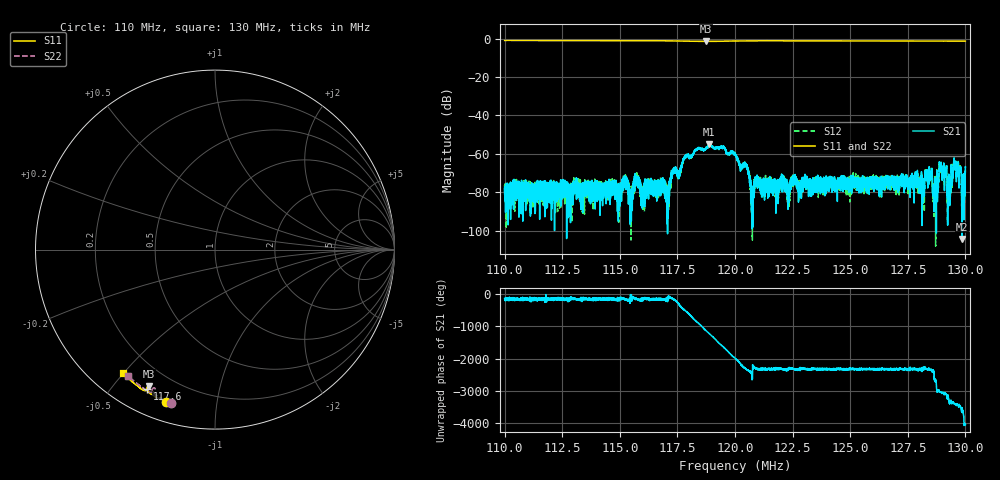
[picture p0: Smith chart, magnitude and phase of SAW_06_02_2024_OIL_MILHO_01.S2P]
!Agilent Technologies,E5071C,MY46520923,B.12.03
!Date: Tue Feb 06 10:30:54 2024
!Data & Calibration Information:
!Freq	S11:SOLT2(ON)	S21:SOLT2(ON)	S12:SOLT2(ON)	S22:SOLT2(ON)
!PortZ  Port1:50+j0  Port2:50+j0
!Above PortZ is port z conversion or system Z0 setting when saving the data.
!When reading, reference impedance value at option line is always used.
# Hz S dB R 50
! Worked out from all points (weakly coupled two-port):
!   10000 points, 110 MHz to 130 MHz, reference 50 ohm
!   highest |S21| = -54.98 dB at 118.9 MHz (marker M1); lowest = -104.4 dB at 129.8 MHz (marker M2)
!   lowest |S11| = -1.5 dB at 118.7 MHz (marker M3), VSWR 11.95, Z = 5.81 - j31.1 ohm
!   |S11| at or under -10 dB: nowhere
!   |S22| runs from -1.5 to -1.0 dB; largest |S21 - S12| = 0.00021
!   S11 on the Smith chart (normalised r, x): 110 MHz: 0.09, -0.72; 117.6 MHz: 0.10, -0.62; 130 MHz: 0.10, -0.50
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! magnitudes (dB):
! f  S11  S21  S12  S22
! 110 MHz  -1.0  -79.5  -78.7  -1.0
! 113.3 MHz  -1.0  -82.8  -86.8  -1.1
! 116.7 MHz  -1.1  -76.9  -81.0  -1.2
! 117.1 MHz  -1.2  -101.7  -82.3  -1.2
! 117.3 MHz  -1.2  -70.0  -68.7  -1.3
! 117.6 MHz  -1.3  -70.2  -70.3  -1.3
! 117.9 MHz  -1.3  -60.9  -61.9  -1.4
! 118.7 MHz  -1.5  -57.2  -56.8  -1.5
! 118.9 MHz  -1.5  -55.0  -55.2  -1.5
! 120 MHz  -1.2  -60.1  -60.2  -1.3
! 120.5 MHz  -1.1  -65.8  -65.6  -1.2
! 120.8 MHz  -1.1  -83.5  -87.8  -1.2
! 123.3 MHz  -1.2  -78.1  -81.4  -1.2
! 126.7 MHz  -1.3  -75.6  -72.0  -1.3
! 128.1 MHz  -1.3  -78.0  -81.6  -1.3
! 128.5 MHz  -1.3  -70.5  -69.9  -1.3
! 128.7 MHz  -1.3  -81.3  -78.2  -1.3
! 129 MHz  -1.3  -67.2  -66.4  -1.4
! 129.3 MHz  -1.3  -71.8  -73.9  -1.4
! 129.6 MHz  -1.3  -65.0  -65.2  -1.4
! 129.8 MHz  -1.3  -104.4  -86.4  -1.4
! 130 MHz  -1.3  -66.8  -68.6  -1.4
